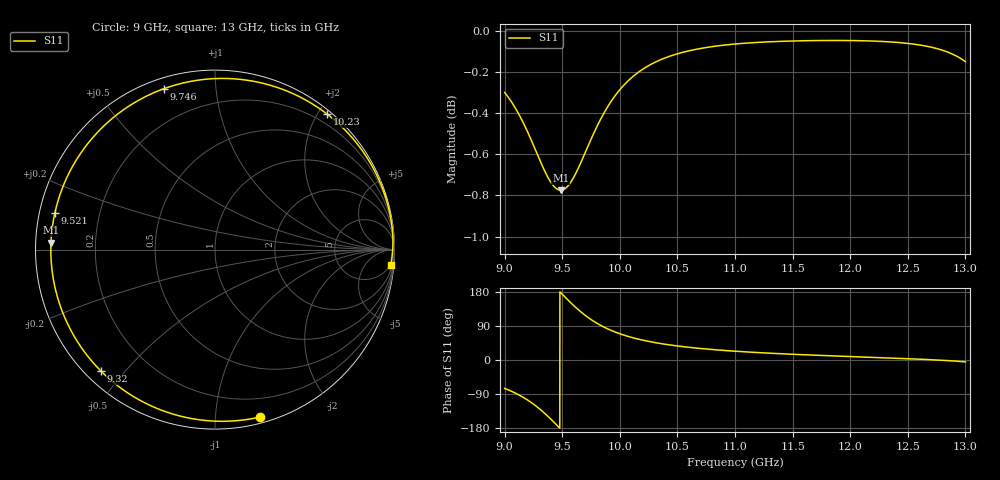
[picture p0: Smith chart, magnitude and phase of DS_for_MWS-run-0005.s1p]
! TOUCHSTONE file generated by CST DESIGN STUDIO
! Date and time: Tue Feb  4 17:54:07 2025
! Project name: C:\Work\MatlabApps\UnitCellOptimizationMatlab\CST\unitcell.cst
! Tree item: Tasks\Sweep1\SPara1\S-Parameters
! Header version: 2024
! Port assignment regex: !\s*Touchstone port\s*([0-9]+)\s*=\s*(CST MWS port|CST DES external port|CST DES block port)\s*(.+)\s* \(\"(.*)\"\)(\s*mode\s*([0-9]+))?.*
! Touchstone port assignment:
! Touchstone port 1 = CST DES external port 1 ("")
# GHz S MA R 50
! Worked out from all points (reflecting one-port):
!   4001 points, 9 GHz to 13 GHz, reference 50 ohm
!   lowest |S11| = -0.8 dB at 9.487 GHz (marker M1), VSWR 22.44, Z = 2.23 + j1.04 ohm
!   phase of S11 starts at -75 deg and turns -290 deg over the sweep
!   S11 on the Smith chart (normalised r, x): 9 GHz: 0.05, -1.30; 9.32 GHz: 0.04, -0.43; 9.521 GHz: 0.04, +0.11; 9.746 GHz: 0.05, +0.73; 10.23 GHz: 0.06, +2.12; 13 GHz: 5, -22
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9  0.9661 -75.0
9.083  0.9587 -85.8
9.184  0.947 -102.6
9.255  0.9373 -117.4
9.32  0.9282 -133.2
9.364  0.9226 -145.2
9.41  0.918 -158.7
9.449  0.9155 -170.6
9.487  0.9147 177.6
9.5  0.9147 173.6
9.521  0.9153 167.1
9.574  0.9187 151.1
9.635  0.9254 134.0
9.689  0.9326 120.3
9.746  0.9405 107.7
9.853  0.954 88.4
9.925  0.9613 78.1
10  0.9676 69.3
10.107  0.9744 59.2
10.227  0.9798 50.5
10.353  0.9839 43.5
10.5  0.9872 37.0
10.722  0.9904 29.8
11  0.9926 23.2
11.5  0.9943 15.1
12  0.9946 9.1
12.5  0.993 3.5
13  0.9829 -4.9
